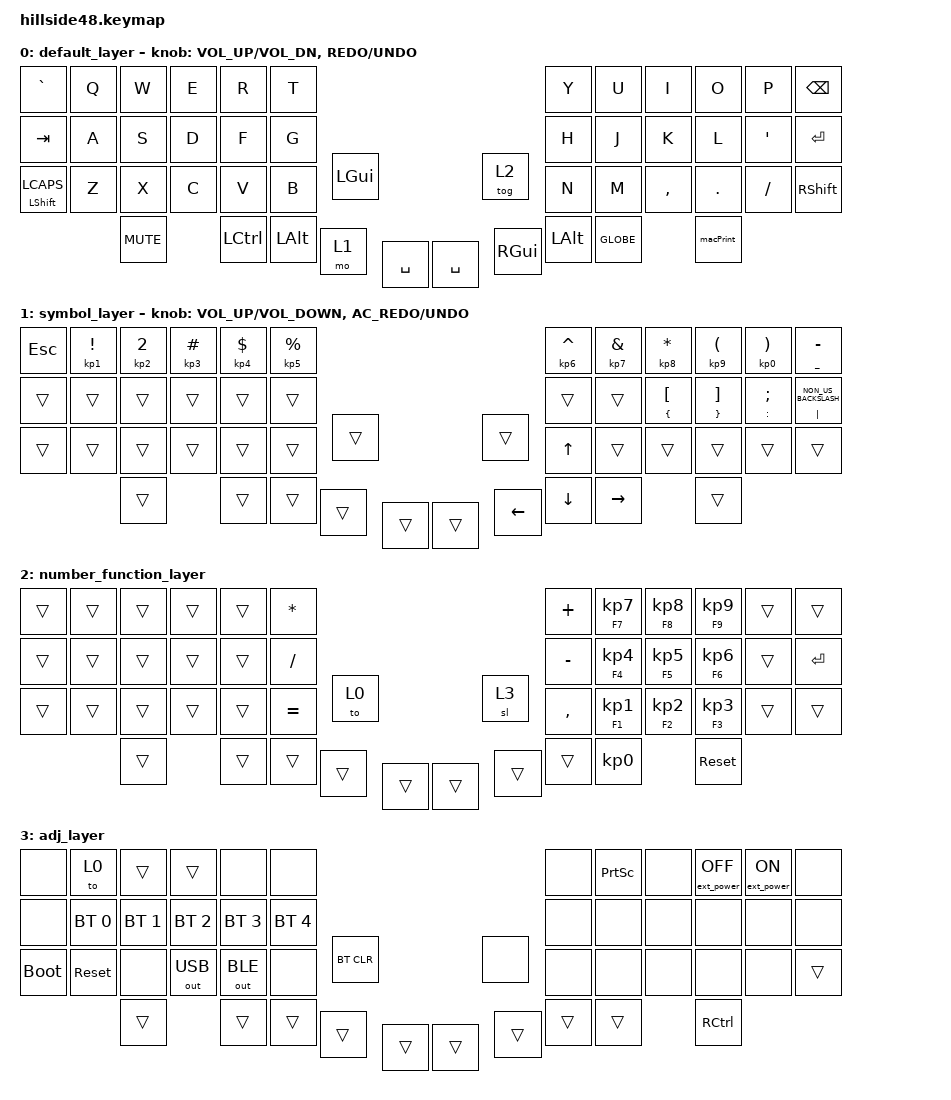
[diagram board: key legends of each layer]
/*
 * Copyright (c) 2022 The ZMK Contributors
 *
 * SPDX-License-Identifier: MIT
 */

#include <behaviors.dtsi>
#include <dt-bindings/zmk/bt.h>
#include <dt-bindings/zmk/ext_power.h>
#include <dt-bindings/zmk/keys.h>
#include <dt-bindings/zmk/outputs.h>

#define QWERTY_L 0
#define DVORAK_L 1
#define COLEMK_L 2
#define SYM_L    3
#define NUM_L    4
#define ADJ_L    5
#define Undo   LC(Z)
#define Cut    LC(X)
#define Copy   LC(C)
#define Paste  LC(V)

/ {
    macros {
        macPrint: macPrint {
            compatible = "zmk,behavior-macro";
            #binding-cells = <0>;
            bindings = <&kp LS(NUMBER_3)>;
            label = "MACPRINT";
        };
    };

    keymap {
        compatible = "zmk,keymap";

        default_layer {
            /* QWERTY
 * -------------------------------------------------------------------------------------------------------------------------------------
 * | `     |   Q   |   W   |   E   |   R   |   T   |-----------------------------------|   Y   |   U   |   I   |   O   |   P   | BKSPC |
 * | TAB   |   A   |   S   |   D   |   F   |   G   |-----------------------------------|   H   |   J   |   K   |   L   |   ;   | ENTER |
 * | SHIFT |   Z   |   X   |   C   |   V   |   B   | CAPS  |-------------------|  ESC  |   N   |   M   |   ,   |   .   |   /   | SHIFT |
 * ----------------| CTRL  |-------|  GUI  |  ALT  | SPACE |  Sym  |---|  Num  | SPACE |  ALT  |  GUI  |-------|   '   |----------------
 */

            bindings = <
&kp GRAVE             &kp Q  &kp W       &kp E  &kp R             &kp T                                                   &kp Y     &kp U      &kp I      &kp O      &kp P      &kp BSPC
&kp TAB               &kp A  &kp S       &kp D  &kp F             &kp G                                                   &kp H     &kp J      &kp K      &kp L      &kp SQT    &kp ENTER
&mt LEFT_SHIFT LCAPS  &kp Z  &kp X       &kp C  &kp V             &kp B     &kp LEFT_GUI                        &tog 2    &kp N     &kp M      &kp COMMA  &kp DOT    &kp SLASH  &kp RSHFT
                             &kp K_MUTE         &kp LEFT_CONTROL  &kp LALT  &mo 1         &kp SPACE  &kp SPACE  &kp RGUI  &kp LALT  &kp GLOBE             &macPrint
            >;

            sensor-bindings =
                <&inc_dec_kp C_VOL_UP C_VOL_DN>,
                <&inc_dec_kp K_REDO K_UNDO>;
        };

        symbol_layer {
            bindings = <
&kp ESCAPE  &mt KP_NUMBER_1 EXCLAMATION  &mt KP_NUMBER_2 NUMBER_2  &mt KP_NUMBER_3 HASH  &mt KP_NUMBER_4 DOLLAR  &mt KP_NUMBER_5 PERCENT                                          &mt KP_NUMBER_6 CARET  &mt KP_NUMBER_7 AMPERSAND  &mt KP_NUMBER_8 ASTERISK     &mt KP_NUMBER_9 LEFT_PARENTHESIS  &mt KP_NUMBER_0 RIGHT_PARENTHESIS  &mt UNDERSCORE MINUS
&trans      &trans                       &trans                    &trans                &trans                  &trans                                                           &trans                 &trans                     &mt LEFT_BRACE LEFT_BRACKET  &mt RIGHT_BRACE RIGHT_BRACKET     &mt COLON SEMICOLON                &mt PIPE NON_US_BACKSLASH
&trans      &trans                       &trans                    &trans                &trans                  &trans                   &trans                  &trans          &kp UP_ARROW           &trans                     &trans                       &trans                            &trans                             &trans
                                         &trans                                          &trans                  &trans                   &trans  &trans  &trans  &kp LEFT_ARROW  &kp DOWN               &kp RIGHT                                               &trans
            >;

            sensor-bindings =
                <&inc_dec_kp C_VOLUME_UP C_VOLUME_DOWN>,
                <&inc_dec_kp C_AC_REDO K_UNDO>;
        };

        number_function_layer {
            bindings = <
&trans  &trans  &trans  &trans  &trans  &kp ASTERISK                                  &kp PLUS   &mt F7 KP_NUMBER_7  &mt F8 KP_NUMBER_8  &mt F9 KP_NUMBER_9  &trans  &trans
&trans  &trans  &trans  &trans  &trans  &kp FSLH                                      &kp MINUS  &mt F4 KP_NUMBER_4  &mt F5 KP_NUMBER_5  &mt F6 KP_NUMBER_6  &trans  &kp ENTER
&trans  &trans  &trans  &trans  &trans  &kp EQUAL     &to 0                   &sl 3   &kp COMMA  &mt F1 KP_NUMBER_1  &mt F2 KP_NUMBER_2  &mt F3 KP_NUMBER_3  &trans  &trans
                &trans          &trans  &trans        &trans  &trans  &trans  &trans  &trans     &kp KP_NUMBER_0                         &sys_reset
            >;
        };

        adj_layer {
            /* ADJUST
 * -------------------------------------------------------------------------------------------------------------------------------------
 * |       | QWERTY| DVORAK| COLEMK|       |       |-----------------------------------|       |Prt Scr|       | EP_OFF| EP_ON |       |
 * |       | BT 0  | BT 1  | BT 2  | BT 3  | BT 4  |-----------------------------------|       |       |       |       |       |       |
 * | BOOTL | RESET |       |OUT_USB|OUT_BLE|       |BT CLR |-------------------|       |       |       |       |       |       | SHIFT |
 * ----------------|       |-------|       |       |       |       |---|       |       |       |       |-------| CTRL  |----------------
 */

            bindings = <
&none        &to 0         &trans        &trans        &none         &none                                             &none   &kp PRINTSCREEN  &none  &ext_power EP_OFF  &ext_power EP_ON  &none
&none        &bt BT_SEL 0  &bt BT_SEL 1  &bt BT_SEL 2  &bt BT_SEL 3  &bt BT_SEL 4                                      &none   &none            &none  &none              &none             &none
&bootloader  &sys_reset    &none         &out OUT_USB  &out OUT_BLE  &none         &bt BT_CLR                  &none   &none   &none            &none  &none              &none             &trans
                           &trans                      &trans        &trans        &trans      &trans  &trans  &trans  &trans  &trans                  &kp RCTRL
            >;
        };
    };
};
